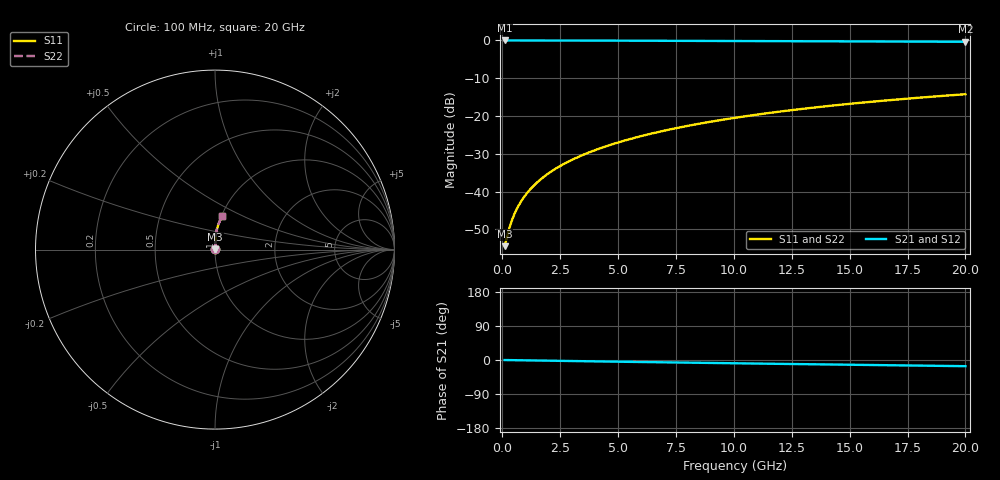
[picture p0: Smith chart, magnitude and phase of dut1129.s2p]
! Touchstone file exported from HFSS 2024.1.0
!  File:  C:/UserFiles/LocalFiles/RDL_TSV_Batchsim/temp_RDL_top_1129_1780047355.aedt
!  Generated:  05:38:13 PM May 29, 2026
!  Design:  RDL_top
!  Project:  temp_RDL_top_1129_1780047355
!  Setup:  Setup1
!  Solution:  Sweep
! Variables:
!  dtsv = 10.80580581um
!  hbump = 3um
!  htsv = 76.99um
!  ldown = 100um
!  lrdl = 173.72um
!  p = 40
!  p1 = 54.9um
!  rhole = 1um
!  t = 450um
!  tdown = 3.915915916um
!  trdl = 2.15um
!  wdown = 15.38538539um
!  wrdl = 22.82um
# GHz S MA R 50.000000
! Terminal data exported
! Port[1] = Box2_T1
! Port[2] = Box2_T2
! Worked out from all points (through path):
!   200 points, 100 MHz to 20 GHz, reference 50 ohm
!   highest |S21| = -0.01 dB at 100 MHz (marker M1); lowest = -0.4 dB at 20 GHz (marker M2)
!   group delay of S21, straight-line fit = 2.25 ps
!   lowest |S11| = -54.4 dB at 100 MHz (marker M3), VSWR 1.00, Z = 50.2 + j0.093 ohm
!   |S11| at or under -10 dB: start of sweep to end of sweep
!   |S22| runs from -54.4 to -14.2 dB; largest |S21 - S12| = 6.3e-15
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0.1  0.0019 29.2  0.9983 -0.1  0.9983 -0.1  0.0019 29.2
! Gamma 0 0 0 0
! Port Impedance 50 0 50 0
0.3  0.003247 57.9  0.9982 -0.3  0.9982 -0.3  0.003247 57.9
0.4  0.004046 64.0  0.9982 -0.4  0.9982 -0.4  0.004046 64.0
0.5  0.004862 68.1  0.9981 -0.5  0.9981 -0.5  0.004862 68.1
0.6  0.005685 71.0  0.998 -0.6  0.998 -0.6  0.005685 71.0
0.8  0.007337 74.9  0.9979 -0.8  0.9979 -0.8  0.007337 74.9
1.1  0.009831 78.6  0.9977 -1.0  0.9977 -1.0  0.009831 78.6
1.3  0.01151 80.3  0.9975 -1.2  0.9975 -1.2  0.01151 80.3
1.6  0.01405 82.1  0.9972 -1.5  0.9972 -1.5  0.01405 82.1
2.1  0.01834 84.1  0.9968 -1.9  0.9968 -1.9  0.01834 84.1
2.7  0.02358 85.7  0.9961 -2.5  0.9961 -2.5  0.02358 85.7
3.5  0.03074 86.9  0.9949 -3.2  0.9949 -3.2  0.03074 86.9
4.2  0.03716 87.5  0.9938 -3.8  0.9938 -3.8  0.03716 87.5
5  0.04466 87.9  0.9923 -4.5  0.9923 -4.5  0.04466 87.9
5.9  0.05329 88.0  0.9906 -5.3  0.9906 -5.3  0.05329 88.0
6.8  0.06209 87.8  0.9887 -6.0  0.9887 -6.0  0.06209 87.8
8.4  0.07806 87.1  0.9853 -7.3  0.9853 -7.3  0.07806 87.1
10.1  0.09528 86.0  0.9815 -8.7  0.9815 -8.7  0.09528 86.0
11.7  0.1116 84.8  0.978 -10.0  0.978 -10.0  0.1116 84.8
13.4  0.1288 83.4  0.9741 -11.3  0.9741 -11.3  0.1288 83.4
16.7  0.1619 80.5  0.9665 -13.8  0.9665 -13.8  0.1619 80.5
20  0.1941 77.6  0.9585 -16.3  0.9585 -16.3  0.1941 77.6
